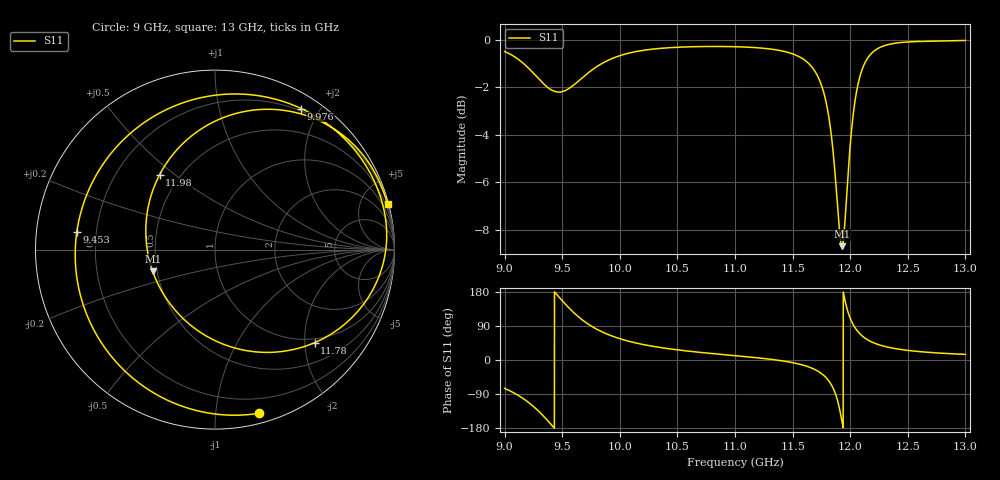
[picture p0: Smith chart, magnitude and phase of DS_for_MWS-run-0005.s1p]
! TOUCHSTONE file generated by CST DESIGN STUDIO
! Date and time: Tue Feb  4 14:19:23 2025
! Project name: C:\Work\MatlabApps\UnitCellOptimizationMatlab\CST\unitcell.cst
! Tree item: Tasks\Sweep1\SPara1\S-Parameters
! Header version: 2024
! Port assignment regex: !\s*Touchstone port\s*([0-9]+)\s*=\s*(CST MWS port|CST DES external port|CST DES block port)\s*(.+)\s* \(\"(.*)\"\)(\s*mode\s*([0-9]+))?.*
! Touchstone port assignment:
! Touchstone port 1 = CST DES external port 1 ("")
# GHz S MA R 50
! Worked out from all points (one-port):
!   4001 points, 9 GHz to 13 GHz, reference 50 ohm
!   lowest |S11| = -8.7 dB at 11.93 GHz (marker M1), VSWR 2.16, Z = 23.6 - j6.61 ohm
!   |S11| at or under -10 dB: nowhere
!   S11 on the Smith chart (normalised r, x): 9 GHz: 0.08, -1.30; 9.453 GHz: 0.13, +0.06; 9.976 GHz: 0.17, +1.77; 11.78 GHz: 0.91, -2.22; 11.98 GHz: 0.39, +0.44; 13 GHz: 0.12, +7.70
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9  0.9443 -75.0
9.13  0.9047 -95.5
9.234  0.8581 -118.4
9.356  0.8 -154.0
9.453  0.7762 172.7
9.5  0.7773 156.5
9.597  0.8015 126.0
9.696  0.8397 101.0
9.835  0.888 75.8
9.976  0.9211 58.6
10  0.9253 56.2
10.215  0.9504 40.1
10.5  0.9637 26.8
11  0.9663 11.5
11.5  0.9334 -7.0
11.671  0.8736 -22.0
11.779  0.7598 -43.0
11.864  0.5389 -82.9
11.895  0.4296 -112.4
11.928  0.3676 -160.8
11.954  0.4129 158.3
11.981  0.5188 126.5
12  0.5988 110.3
12.066  0.8017 75.4
12.18  0.9331 48.6
12.306  0.9729 35.4
12.5  0.9888 25.4
13  0.9961 14.8
